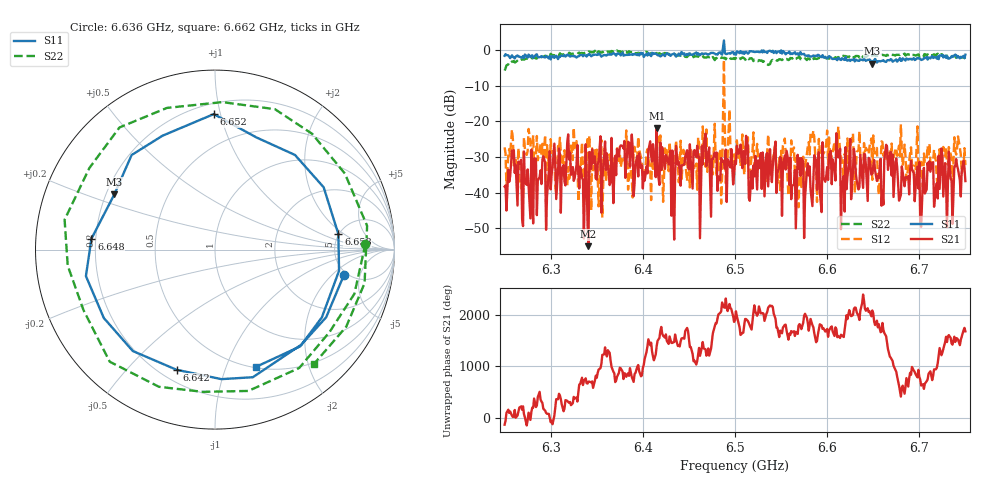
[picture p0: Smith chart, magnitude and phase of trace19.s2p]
# Hz S RI R 50
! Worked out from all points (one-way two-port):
!   401 points, 6.25 GHz to 6.75 GHz, reference 50 ohm
!   highest |S21| = -21.91 dB at 6.415 GHz (marker M1); lowest = -55.1 dB at 6.341 GHz (marker M2)
!   lowest |S11| = -3.9 dB at 6.649 GHz (marker M3), VSWR 4.55, Z = 11.7 + j12.1 ohm
!   |S11| at or under -10 dB: nowhere
!   |S22| runs from -5.8 to -0.1 dB; largest |S21 - S12| = 0.74
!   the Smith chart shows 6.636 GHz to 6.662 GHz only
!   S11 on the Smith chart (normalised r, x): 6.636 GHz: 4.71, -2.84; 6.642 GHz: 0.26, -0.70; 6.648 GHz: 0.18, +0.04; 6.652 GHz: 0.27, +0.95; 6.658 GHz: 4.94, +1.64; 6.662 GHz: 0.51, -1.27
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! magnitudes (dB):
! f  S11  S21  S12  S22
! 6.25 GHz  -1.6  -38.3  -27.3  -5.8
! 6.32 GHz  -1.6  -30.7  -36.2  -0.8
! 6.334 GHz  -1.3  -35.9  -25.9  -0.8
! 6.341 GHz  -1.4  -55.1  -27.5  -0.5
! 6.345 GHz  -1.6  -27.8  -27.6  -0.6
! 6.415 GHz  -1.2  -21.9  -30.3  -0.8
! 6.418 GHz  -1.6  -37.9  -25.9  -0.9
! 6.5 GHz  -0.9  -31.2  -30.9  -2.6
! 6.555 GHz  -1.2  -33.6  -29.1  -2.6
! 6.564 GHz  -0.8  -37.8  -27.3  -2.0
! 6.57 GHz  -1.1  -30.4  -35.1  -1.8
! 6.584 GHz  -1.8  -43.8  -24.4  -2.8
! 6.636 GHz  -2.7  -29.4  -30.1  -1.5
! 6.642 GHz  -3.1  -32.2  -27.5  -2.0
! 6.648 GHz  -3.2  -35.0  -24.8  -1.7
! 6.649 GHz  -3.9  -34.6  -36.5  -1.4
! 6.652 GHz  -2.4  -33.8  -29.1  -1.6
! 6.658 GHz  -3.2  -30.6  -32.0  -1.5
! 6.662 GHz  -3.2  -30.7  -28.6  -1.5
! 6.668 GHz  -2.9  -29.7  -28.1  -1.3
! 6.704 GHz  -2.6  -35.3  -38.4  -1.3
! 6.75 GHz  -1.3  -36.8  -32.3  -2.5
